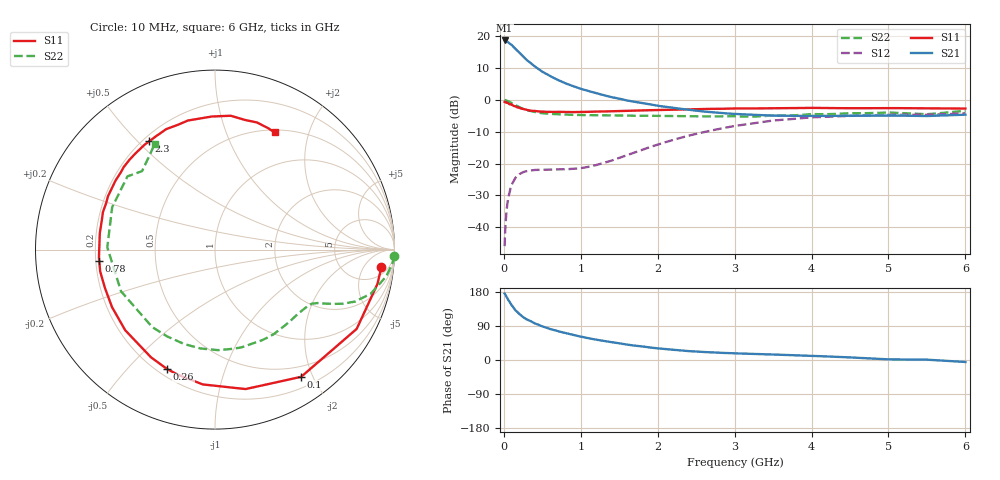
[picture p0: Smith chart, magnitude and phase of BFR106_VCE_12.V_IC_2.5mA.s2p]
! Infineon Technologies  Discrete & RF Semiconductors
! BFR106
! VCE =  12. V,  IC =  2.5 mA
! Common Emitter S-Parameters:  Nov 2015
# GHz  S  MA  R  50
!  f  S11  S21  S12  S22
! GHz  MAG  ANG  MAG  ANG  MAG  ANG  MAG  ANG
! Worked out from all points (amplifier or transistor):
!   210 points, 10 MHz to 6 GHz, reference 50 ohm
!   highest |S21| = 18.7 dB at 10 MHz (marker M1)
!   |S21| within 3 dB of that: start of sweep to 167.4 MHz
!   unconditionally stable (mu >= 1): 756.6 MHz to 1.823 GHz; 4.28 GHz to end of sweep
!   at 185 MHz: K = 0.27, MSG = 19.5 dB, |S12| = -23.7 dB
!   at 1.52 GHz: K = 1.15, MAG = 6.8 dB, |S12| = -18.1 dB
!   at 6 GHz: K = 1.02, MAG = -1.1 dB, |S12| = -4.2 dB
!   S11 on the Smith chart (normalised r, x): 10 MHz: 9, -13; 100 MHz: 0.35, -1.83; 260 MHz: 0.24, -0.65; 780 MHz: 0.21, -0.05; 2.3 GHz: 0.22, +0.54; 6 GHz: 0.53, +1.50
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0.01  0.9323 -6.0  8.642 175.4  0.005 88.8  0.9992 -1.9
0.025  0.9161 -14.7  8.458 170.5  0.0125 80.3  0.9901 -4.5
0.05  0.9047 -29.2  8.214 160.7  0.0255 74.0  0.9667 -8.8
0.1  0.856 -55.9  7.415 145.2  0.046 61.2  0.9021 -15.8
0.15  0.7955 -77.6  6.42 131.2  0.0594 50.4  0.8316 -20.4
0.2  0.7543 -95.2  5.605 121.6  0.0676 44.2  0.7719 -23.0
0.26  0.7171 -111.8  4.721 111.9  0.0737 38.4  0.7157 -25.0
0.3  0.6981 -120.7  4.235 106.9  0.076 35.9  0.6901 -25.9
0.4  0.6724 -138.1  3.389 96.8  0.0791 32.4  0.6448 -27.5
0.5  0.6571 -150.8  2.785 88.6  0.0797 31.5  0.6178 -29.2
0.6  0.6494 -160.7  2.376 81.8  0.0804 32.5  0.6046 -31.3
0.78  0.6482 -174.5  1.874 72.0  0.081 37.3  0.5896 -35.7
1.02  0.6482 170.8  1.475 60.9  0.0852 48.1  0.5786 -42.6
1.4  0.6662 153.5  1.108 47.0  0.1111 64.9  0.5737 -55.4
2.02  0.6946 130.3  0.804 30.4  0.2017 72.0  0.5611 -80.4
2.3  0.7061 121.3  0.726 25.3  0.2542 69.5  0.5564 -93.3
3.1  0.7342 99.7  0.595 17.0  0.4052 54.1  0.549 -134.4
3.5  0.7418 91.3  0.567 14.4  0.4748 45.1  0.5727 -156.0
4.1  0.7483 82.1  0.561 10.3  0.5384 30.9  0.5974 174.5
5.1  0.7439 70.7  0.568 1.5  0.5828 12.3  0.6273 138.7
5.5  0.7386 66.4  0.559 0.9  0.5833 8.6  0.597 132.9
6  0.7327 63.0  0.587 -5.2  0.6162 0.3  0.6759 119.8
